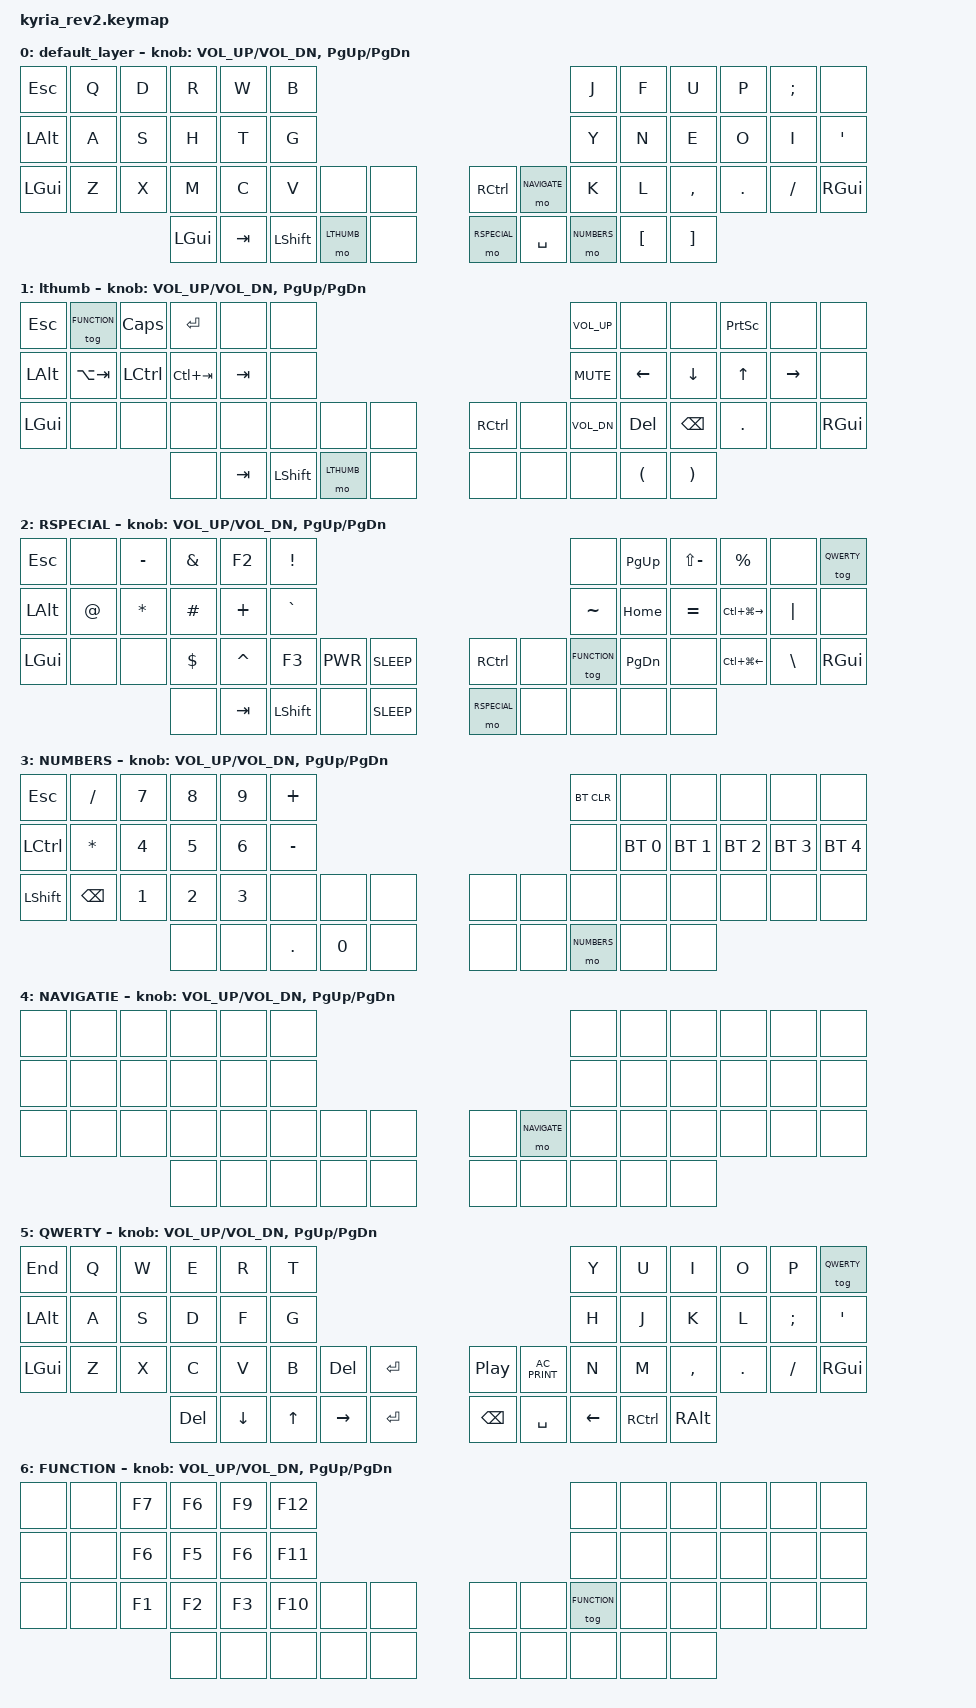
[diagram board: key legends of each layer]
/*
 * Copyright (c) 2020 The ZMK Contributors
 *
 * SPDX-License-Identifier: MIT
 */

#include <behaviors.dtsi>
#include <dt-bindings/zmk/keys.h>
#include <dt-bindings/zmk/bt.h>
#define DEFAULT 0
#define LTHUMB 1
#define RSPECIAL 2
#define NUMBERS 3
#define NAVIGATE 4
#define QWERTY 5
#define FUNCTION 6

/ {
	keymap {
		compatible = "zmk,keymap";

		default_layer {
// ---------------------------------------------------------------------------------------------------------------------------------
// |  ESC  |  Q  |  D  |  R   |  W   |  B   |                                          |  J   |  F    |  U    |  P   |   ;   |   \  |
// |  ALT  |  A  |  S  |  H   |  T   |  G   |                                          |  Y   |  N    |  E    |  O   |   I   |   '  |
// |  GUI  |  Z  |  X  |  M   |  C   |  V   | L SHIFT | L SHIFT |  | L SHIFT | L SHIFT |  K   |  L    |  ,    |  .   |   /   | GUI |
//                     | GUI  | DEL  | RET  |  SPACE  |   ESC   |  |   RET   |  SPACE  | TAB  | BSPC  | R-ALT |
			bindings = <
	&kp ESC   &kp Q &kp D &kp R &kp W &kp B                                                &kp J &kp F  &kp U     &kp P   &kp SEMI    &none
	&kp LALT   &kp A &kp S &kp H &kp T &kp G                                                &kp Y &kp N  &kp E     &kp O   &kp I &kp SQT
	&kp LGUI  &kp Z &kp X &kp M &kp C &kp V &none &none               &kp RCTRL &mo NAVIGATE &kp K &kp L  &kp COMMA &kp DOT &kp FSLH &kp RGUI
	                 &kp LGUI &kp TAB &kp LSHFT &mo LTHUMB &none      &mo RSPECIAL  &kp SPACE  &mo NUMBERS &kp LBKT &kp RBKT
			>;

			sensor-bindings = <&inc_dec_kp C_VOL_UP C_VOL_DN &inc_dec_kp PG_UP PG_DN>;
		};
		
		lthumb {
		
                        bindings = <
	&kp ESC  &tog FUNCTION &kp CAPS &kp ENTER &none  &none                                      &kp C_VOL_UP &none  &none &kp PSCRN &none &none
	&kp LALT &kp LA(TAB) &kp LCTRL &kp LC(TAB) &kp TAB &none                               &kp C_MUTE &kp LEFT &kp DOWN &kp UP &kp RIGHT &none
	&kp LGUI  &none &none &none &none &none &none &none         &kp RCTRL &none &kp C_VOL_DN &kp DEL  &kp BSPC &kp DOT &none &kp RGUI
	                 &none &kp TAB &kp LSHFT &mo LTHUMB &none      &none  &none  &none &kp LPAR &kp RPAR
			>;

			sensor-bindings = <&inc_dec_kp C_VOL_UP C_VOL_DN &inc_dec_kp PG_UP PG_DN>;
		};
		
		RSPECIAL {
		
                        bindings = <
	&kp ESC   &none &kp MINUS &kp AMPS &kp F2  &kp EXCL                                 &none &kp PG_UP  &kp LS(MINUS)  &kp PERCENT &none &tog QWERTY
	&kp LALT   &kp AT &kp STAR &kp HASH &kp PLUS &kp GRAVE                               &kp TILDE &kp HOME  &kp EQUAL &kp LC(LG(RIGHT)) &kp PIPE &none
	&kp LGUI &none &none &kp DLLR &kp CARET &kp F3 &kp C_PWR &kp C_SLEEP     &kp RCTRL &none &tog FUNCTION &kp PG_DN &none &kp LC(LG(LEFT)) &kp BSLH &kp RGUI
	                             &none &kp TAB &kp LSHFT &none &kp C_SLEEP      &mo RSPECIAL  &none  &none &none &none
			>;

			sensor-bindings = <&inc_dec_kp C_VOL_UP C_VOL_DN &inc_dec_kp PG_UP PG_DN>;
		};
		
		NUMBERS {
		
                        bindings = <
	&kp ESC  &kp FSLH &kp N7 &kp N8 &kp N9 &kp PLUS                                 &bt BT_CLR &none &none &none &none &none
	&kp LCTRL  &kp STAR &kp N4 &kp N5 &kp N6 &kp MINUS                                 &none &bt BT_SEL 0 &bt BT_SEL 1 &bt BT_SEL 2 &bt BT_SEL 3 &bt BT_SEL 4
	&kp LSHFT  &kp BSPC &kp N1 &kp N2 &kp N3 &none &none &none         &none &none &none &none &none &none &none &none
	                   &none &none &kp DOT &kp N0 &none         &none  &none &mo NUMBERS &none &none
			>;

			sensor-bindings = <&inc_dec_kp C_VOL_UP C_VOL_DN &inc_dec_kp PG_UP PG_DN>;
		};
		
		NAVIGATIE {
		
                        bindings = <
	&none  &none &none &none &none &none                                 &none &none &none &none &none &none
	&none  &none &none &none &none &none                                 &none &none &none &none &none &none
	&none  &none &none &none &none &none &none &none         &none &mo NAVIGATE &none &none &none &none &none &none
	                   &none &none &none &none &none         &none  &none  &none &none &none
			>;

			sensor-bindings = <&inc_dec_kp C_VOL_UP C_VOL_DN &inc_dec_kp PG_UP PG_DN>;
		};
		
		QWERTY {
		
                        bindings = <
	&kp END  &kp Q &kp W &kp E &kp R &kp T                                 &kp Y &kp U &kp I &kp O &kp P &tog QWERTY
	&kp LALT  &kp A &kp S &kp D &kp F &kp G                                 &kp H &kp J &kp K &kp L &kp SEMI &kp SQT
	&kp LGUI  &kp Z &kp X &kp C &kp V &kp B &kp DEL &kp ENTER         &kp C_PP &kp C_AC_PRINT  &kp N &kp M &kp COMMA &kp DOT &kp FSLH &kp RGUI
	                   &kp DEL &kp DOWN &kp UP &kp RIGHT &kp ENTER         &kp BSPC  &kp SPACE &kp LEFT &kp RCTRL &kp RALT
			>;

			sensor-bindings = <&inc_dec_kp C_VOL_UP C_VOL_DN &inc_dec_kp PG_UP PG_DN>;
		};
		
		FUNCTION {
		
                        bindings = <
	&none  &none &kp F7 &kp F6 &kp F9 &kp F12                                 &none &none &none &none &none &none
	&none  &none &kp F6 &kp F5 &kp F6 &kp F11                                 &none &none &none &none &none &none
	&none  &none &kp F1 &kp F2 &kp F3 &kp F10 &none &none         &none &none &tog FUNCTION &none &none &none &none &none
	                   &none &none &none &none &none         &none  &none  &none &none &none
			>;

			sensor-bindings = <&inc_dec_kp C_VOL_UP C_VOL_DN &inc_dec_kp PG_UP PG_DN>;
		};
	};
};
